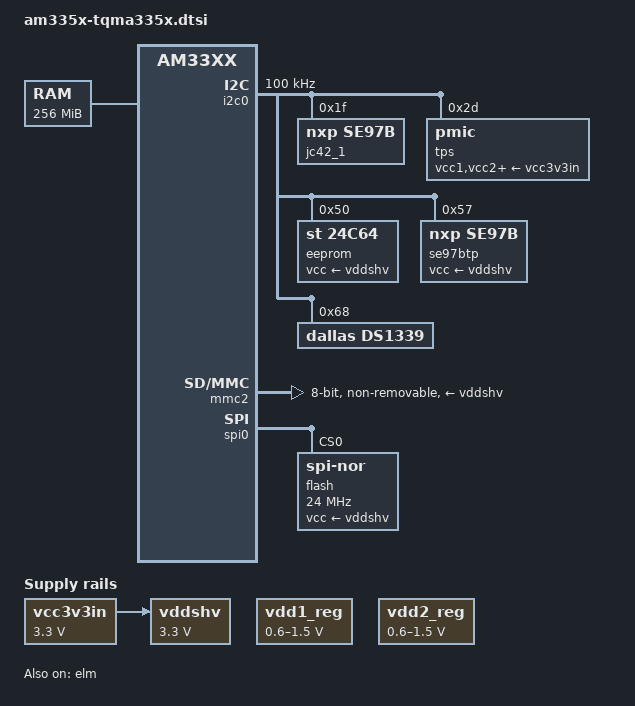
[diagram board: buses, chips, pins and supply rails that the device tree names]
// SPDX-License-Identifier: GPL-2.0-only
/*
 * Copyright (c) 2014-2025 TQ-Systems GmbH <linux@ew.tq-group.com>, D-82229 Seefeld, Germany.
 * Authors: Gregor Herburger, Matthias Schiffer
 *
 * Based on:
 * Copyright (C) 2012 Texas Instruments Incorporated - http://www.ti.com/
 */

#include <dt-bindings/interrupt-controller/irq.h>
#include "am33xx.dtsi"

/ {
	compatible = "tq,tqma3359", "ti,am33xx";

	aliases {
		mmc0 = &mmc2;
		mmc1 = &mmc1;
		/delete-property/ mmc2;
		rtc0 = &tps;
		rtc1 = &ds1339;
		rtc2 = &rtc;
	};

	memory@80000000 {
		device_type = "memory";
		reg = <0x80000000 0x10000000>; /* 256 MB */
	};

	/* SOM input voltage */
	vcc3v3in: regulator-vcc3v3in {
		compatible = "regulator-fixed";
		regulator-name = "VCC3V3IN";
		regulator-min-microvolt = <3300000>;
		regulator-max-microvolt = <3300000>;
		regulator-boot-on;
	};

	/*
	 * Regulator is enabled by PMIC power sequence. The supplied voltage
	 * rail is also usable on baseboard.
	 */
	vddshv: regulator-vddshv {
		compatible = "regulator-fixed";
		regulator-name = "VDDSHV";
		regulator-min-microvolt = <3300000>;
		regulator-max-microvolt = <3300000>;
		regulator-boot-on;
		vin-supply = <&vcc3v3in>;
	};
};

&am33xx_pinmux {
	i2c0_pins: i2c0-pins {
		pinctrl-single,pins = <
			/* i2c0_sda.i2c0_sda */
			AM33XX_PADCONF(AM335X_PIN_I2C0_SDA, PIN_INPUT_PULLUP, MUX_MODE0)
			/* i2c0_scl.i2c0_scl */
			AM33XX_PADCONF(AM335X_PIN_I2C0_SCL, PIN_INPUT_PULLUP, MUX_MODE0)
		>;
	};

	mmc2_pins: mmc2-pins {
		pinctrl-single,pins = <
			/* gpmc_ad0.mmc1_dat0 */
			AM33XX_PADCONF(AM335X_PIN_GPMC_AD0, SLEWCTRL_SLOW | PIN_INPUT_PULLUP, MUX_MODE1)
			/* gpmc_ad1.mmc1_dat1 */
			AM33XX_PADCONF(AM335X_PIN_GPMC_AD1, SLEWCTRL_SLOW | PIN_INPUT_PULLUP, MUX_MODE1)
			/* gpmc_ad2.mmc1_dat2 */
			AM33XX_PADCONF(AM335X_PIN_GPMC_AD2, SLEWCTRL_SLOW | PIN_INPUT_PULLUP, MUX_MODE1)
			/* gpmc_ad3.mmc1_dat3 */
			AM33XX_PADCONF(AM335X_PIN_GPMC_AD3, SLEWCTRL_SLOW | PIN_INPUT_PULLUP, MUX_MODE1)
			/* gpmc_ad4.mmc1_dat4 */
			AM33XX_PADCONF(AM335X_PIN_GPMC_AD4, SLEWCTRL_SLOW | PIN_INPUT_PULLUP, MUX_MODE1)
			/* gpmc_ad5.mmc1_dat5 */
			AM33XX_PADCONF(AM335X_PIN_GPMC_AD5, SLEWCTRL_SLOW | PIN_INPUT_PULLUP, MUX_MODE1)
			/* gpmc_ad6.mmc1_dat6 */
			AM33XX_PADCONF(AM335X_PIN_GPMC_AD6, SLEWCTRL_SLOW | PIN_INPUT_PULLUP, MUX_MODE1)
			/* gpmc_ad7.mmc1_dat7 */
			AM33XX_PADCONF(AM335X_PIN_GPMC_AD7, SLEWCTRL_SLOW | PIN_INPUT_PULLUP, MUX_MODE1)
			/* gpmc_csn1.mmc1_clk */
			AM33XX_PADCONF(AM335X_PIN_GPMC_CSN1, PIN_INPUT_PULLUP, MUX_MODE2)
			/* gpmc_csn2.mmc1_cmd */
			AM33XX_PADCONF(AM335X_PIN_GPMC_CSN2, SLEWCTRL_SLOW | PIN_INPUT_PULLUP, MUX_MODE2)
		>;
	};

	spi0_pins: spi0-pins {
		pinctrl-single,pins = <
			/* spi0_sclk.spi0_sclk */
			AM33XX_PADCONF(AM335X_PIN_SPI0_SCLK, PIN_INPUT, MUX_MODE0)
			/* spi0_d0.spi0_d0 */
			AM33XX_PADCONF(AM335X_PIN_SPI0_D0, PIN_INPUT_PULLDOWN, MUX_MODE0)
			/* spi0_d1.spi0_d1 */
			AM33XX_PADCONF(AM335X_PIN_SPI0_D1, PIN_OUTPUT, MUX_MODE0)
			/* spi0_cs0.spi0_cs0 */
			AM33XX_PADCONF(AM335X_PIN_SPI0_CS0, PIN_OUTPUT, MUX_MODE0)
		>;
	};
};

&cpu {
	cpu0-supply = <&vdd1_reg>;
};

&elm {
	status = "okay";
};

&i2c0 {
	pinctrl-names = "default";
	pinctrl-0 = <&i2c0_pins>;
	clock-frequency = <100000>;
	status = "okay";

	/* optional, not on TQMa335xL */
	jc42_1: temperature-sensor@1f {
		compatible = "nxp,se97b", "jedec,jc-42.4-temp";
		reg = <0x1f>;
	};

	tps: pmic@2d {
		reg = <0x2d>;
		ti,en-ck32k-xtal;
		/* Filled in by tps65910.dtsi */
	};

	/* optional, not on TQMa335xL */
	eeprom: eeprom@50 {
		compatible = "st,24c64", "atmel,24c64";
		reg = <0x50>;
		pagesize = <32>;
		vcc-supply = <&vddshv>;
	};

	/* optional, not on TQMa335xL */
	se97btp: eeprom@57 {
		compatible = "nxp,se97b", "atmel,24c02";
		reg = <0x57>;
		pagesize = <16>;
		vcc-supply = <&vddshv>;
	};

	/* optional, not on TQMa335xL */
	ds1339: rtc@68 {
		compatible = "dallas,ds1339";
		reg = <0x68>;
	};
};

#include "../../tps65910.dtsi"

&mmc2 {
	pinctrl-names = "default";
	pinctrl-0 = <&mmc2_pins>;
	bus-width = <8>;
	no-1-8-v;
	no-sd;
	no-sdio;
	vmmc-supply = <&vddshv>;
	non-removable;
	status = "okay";
};

&rtc {
	status = "disabled";
};

&tps {
	vcc1-supply = <&vcc3v3in>;
	vcc2-supply = <&vcc3v3in>;
	vcc3-supply = <&vcc3v3in>;
	vcc4-supply = <&vcc3v3in>;
	vcc5-supply = <&vcc3v3in>;
	vcc6-supply = <&vcc3v3in>;
	vcc7-supply = <&vcc3v3in>;
	vccio-supply = <&vcc3v3in>;
};

/* TPS outputs */
&vrtc_reg {
	regulator-always-on;
};

&vio_reg {
	regulator-always-on;
};

&vdd1_reg {
	regulator-name = "vdd_mpu";
	regulator-min-microvolt = <600000>;
	regulator-max-microvolt = <1500000>;
	regulator-boot-on;
	regulator-always-on;
};

&vdd2_reg {
	regulator-name = "vdd_core";
	regulator-min-microvolt = <600000>;
	regulator-max-microvolt = <1500000>;
	regulator-boot-on;
	regulator-always-on;
};

&vdd3_reg {
	regulator-always-on;
};

&vdig1_reg {
	regulator-always-on;
};

&vdig2_reg {
	regulator-always-on;
};

&vpll_reg {
	regulator-always-on;
};

&vdac_reg {
	regulator-always-on;
};

&vaux1_reg {
	regulator-always-on;
};

&vaux2_reg {
	regulator-always-on;
};

&vaux33_reg {
	regulator-always-on;
};

&vmmc_reg {
	regulator-always-on;
};

&spi0 {
	pinctrl-names = "default";
	pinctrl-0 = <&spi0_pins>;
	status = "okay";

	flash@0 {
		compatible = "jedec,spi-nor";
		reg = <0x0>;
		spi-max-frequency = <24000000>;
		vcc-supply = <&vddshv>;

		partitions {
			compatible = "fixed-partitions";
			#address-cells = <1>;
			#size-cells = <1>;
		};
	};
};

&usb0_phy {
	vcc-supply = <&vaux1_reg>;
};

&usb1_phy {
	vcc-supply = <&vaux1_reg>;
};

&wkup_m3_ipc {
	firmware-name = "am335x-evm-scale-data.bin";
};
